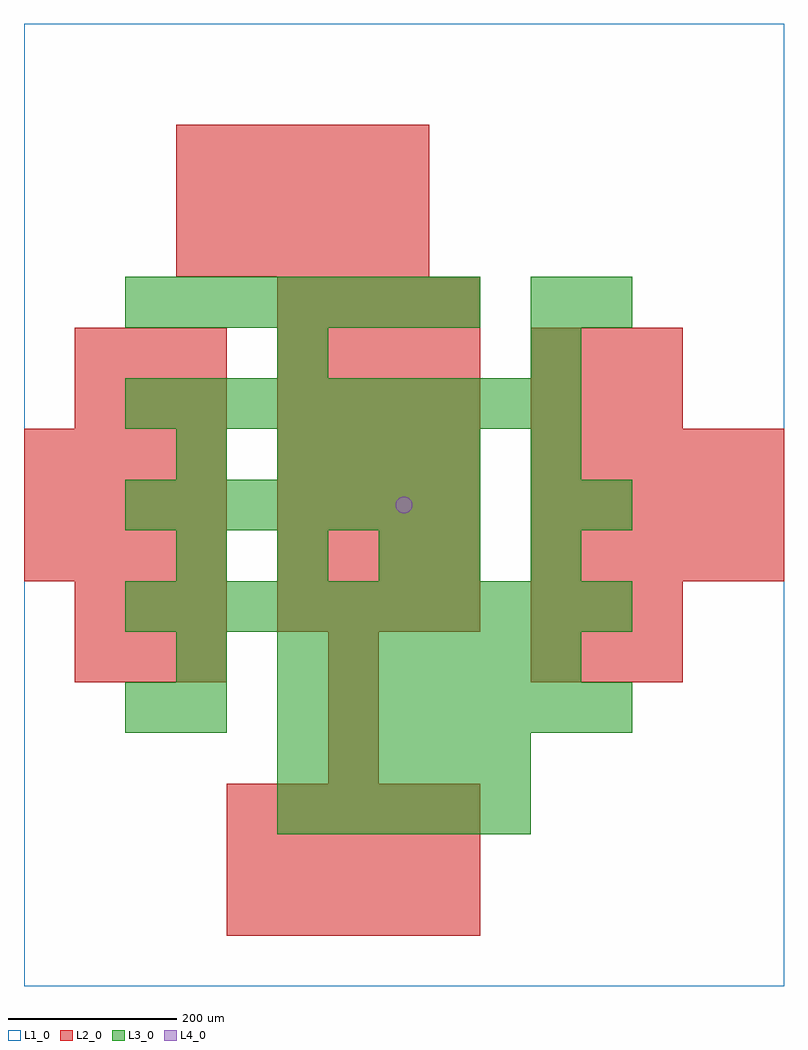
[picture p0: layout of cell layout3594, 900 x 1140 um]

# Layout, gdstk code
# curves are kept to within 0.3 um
import gdstk
lib = gdstk.Library(unit=1e-6, precision=1e-09)
def R(c, l, rs):  # rectangles x0, y0, x1, y1
    for r in rs: c.add(gdstk.rectangle(r[:2], r[2:], *l))
def A(c, l, x, y, w, h, nx, ny, dx, dy):  # array of equal rectangles
    R(c, l, [(x+i*dx, y+j*dy, x+i*dx+w, y+j*dy+h) for i in range(nx) for j in range(ny)])
def P(c, l, *ps):  # polygons
    for p in ps: c.add(gdstk.Polygon(p, *l))
L1_0 = (1, 0)
L2_0 = (2, 0)
L3_0 = (3, 0)
L4_0 = (4, 0)

layout3594 = lib.new_cell('layout3594')
R(layout3594, L1_0, [(0,0,900,1140)])
A(layout3594, L2_0, 240, 60, 60, 60, 5, 3, 60, 60)
A(layout3594, L2_0, 360, 240, 60, 60, 1, 3, 0, 60)
A(layout3594, L2_0, 60, 360, 60, 60, 3, 2, 60, 60)
A(layout3594, L2_0, 600, 360, 60, 60, 3, 2, 60, 60)
A(layout3594, L2_0, 300, 420, 60, 60, 4, 7, 60, 60)
A(layout3594, L2_0, 0, 480, 60, 60, 4, 3, 60, 60)
A(layout3594, L2_0, 600, 480, 60, 60, 5, 3, 60, 60)
A(layout3594, L2_0, 60, 660, 60, 60, 3, 2, 60, 60)
A(layout3594, L2_0, 600, 660, 60, 60, 3, 2, 60, 60)
A(layout3594, L2_0, 180, 840, 60, 60, 5, 3, 60, 60)
A(layout3594, L3_0, 300, 180, 60, 60, 5, 2, 60, 60)
A(layout3594, L3_0, 300, 300, 60, 60, 7, 1, 60, 0)
A(layout3594, L3_0, 300, 360, 60, 60, 6, 1, 60, 0)
A(layout3594, L3_0, 120, 420, 60, 60, 10, 1, 60, 0)
A(layout3594, L3_0, 180, 480, 60, 60, 3, 1, 120, 0)
A(layout3594, L3_0, 600, 480, 60, 60, 1, 3, 0, 60)
A(layout3594, L3_0, 120, 540, 60, 60, 7, 2, 60, 240)
A(layout3594, L3_0, 300, 600, 60, 60, 4, 1, 60, 0)
A(layout3594, L3_0, 120, 660, 60, 60, 9, 1, 60, 0)
R(layout3594, L3_0, [(120,300,180,360), (180,300,240,360), (180,360,240,420), (480,480,540,540), (660,540,720,600), (180,600,240,660), (300,720,360,780), (600,720,660,780), (600,780,660,840), (660,780,720,840)])
P(layout3594, L4_0, [(460,570),(459.239,573.827),(457.071,577.071),(453.827,579.239),(450,580),(446.173,579.239),(442.929,577.071),(440.761,573.827),(440,570),(440.761,566.173),(442.929,562.929),(446.173,560.761),(450,560),(453.827,560.761),(457.071,562.929),(459.239,566.173)])

lib.write_gds('layout3594.gds')
